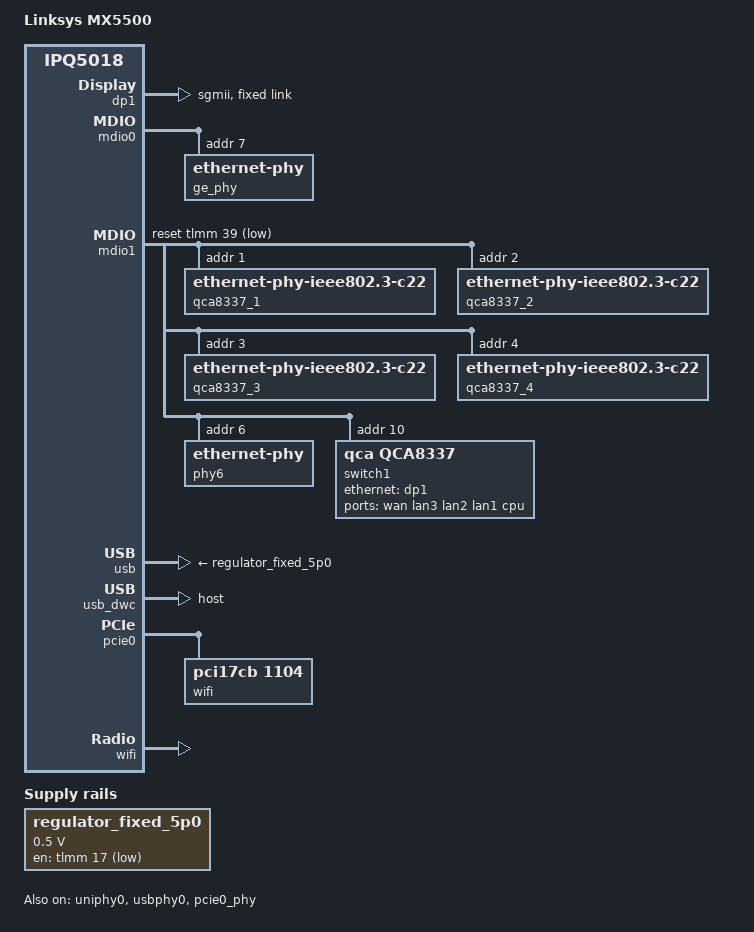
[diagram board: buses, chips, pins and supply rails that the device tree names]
/dts-v1/;

#include "ipq5018.dtsi"
#include "ipq5018-mx-base.dtsi"
#include <dt-bindings/phy/qcom-eth-uniphy.h>

/ {
	model = "Linksys MX5500";
	compatible = "linksys,mx5500", "qcom,ipq5018";

    chosen {
        bootargs-append = " pci=pcie_bus_perf mitigations=off root=/dev/ubiblock0_0";
		stdout-path = "serial0:115200n8";
	};

/*	gpio-leds {
		compatible = "gpio-leds";

		usb {
			color = <LED_COLOR_ID_BLUE>;
			function = LED_FUNCTION_USB;
			gpios = <&tlmm 19 GPIO_ACTIVE_HIGH>;
			trigger-sources = <&usb_port1>;
			linux,default-trigger = "usbport";
		};
	};*/

	regulator_fixed_5p0: regulator-s0500 {
		compatible = "regulator-fixed";
		regulator-min-microvolt = <500000>;
		regulator-max-microvolt = <500000>;
		regulator-name = "fixed_5p0";
		gpios = <&tlmm 17 GPIO_ACTIVE_LOW>;
	};

	reserved-memory {
		#address-cells = <2>;
		#size-cells = <2>;

		m3_dump@4c700000 {
			no-map;
			reg = <0x0 0x4c700000 0x0 0x100000>;
		};

		q6_etr_region:q6_etr_dump@4c800000 {
			no-map;
			reg = <0x0 0x4c800000 0x0 0x100000>;
		};

		q6_caldb_region:q6_caldb_region@4c900000 {
			no-map;
			reg = <0x0 0x4c900000 0x0 0x200000>;
		};

		qcn9000_pcie0: qcn9000_pcie0@4cb00000 {
			no-map;
			reg = <0x0 0x4Cb00000 0x0 0x01a00000>;
		};
		
		mhi_region1: dma_pool1@4e500000 {
			compatible = "shared-dma-pool";
			no-map;
			reg = <0x0 0x4e500000 0x0 0x00500000>;
		};

	};
};
&soc {
		nss-common {
			compatible = "qcom,nss-common";
			reg = <0x01868010 0x01>;
			reg-names = "nss-misc-reset";
			memory-region = <&nss_region>;
		};

		ess-instance {
			num_devices = <0x2>;
			ess-switch@39c00000 {
				compatible = "qcom,ess-switch-ipq50xx";
				device_id = <0>;
				switch_mac_mode = <0xf>; /* mac mode for uniphy instance*/
				cmnblk_clk = "internal_96MHz"; /* cmnblk clk*/
				qcom,port_phyinfo {
					port@0 {
						port_id = <1>;
						phy_address = <7>;
					};
					port@1 {
						port_id = <2>;
						forced-speed = <1000>;
						forced-duplex = <1>;
					};
				};
				led_source@0 {
					source = <0>;
					mode = "normal";
					speed = "all";
					blink_en = "enable";
					active = "high";
				};
			};
#if 1
			ess-switch1@1 {
				compatible = "qcom,ess-switch-qca83xx";
				device_id = <1>;
				switch_access_mode = "mdio";
				mdio-bus = <&mdio1>;
				reset_gpio = <0x227>;
#if 0
				switch_cpu_bmp = <0x40>;  /* cpu port bitmap (Port 6 GMAC) */
				switch_lan_bmp = <0x3c>;  /* lan port bitmap (Port 5..3 GMAC) */
				switch_wan_bmp = <0x00>;  /* wan port bitmap (Port 2 GMAC) */
#endif
				qca,ar8327-initvals = <
						0x00004 0x7600000   /* PAD0_MODE */
						0x00008 0x1000000   /* PAD5_MODE */
						0x0000c 0x80        /* PAD6_MODE */
						0x00010 0x2613a0    /* PORT6 FORCE MODE*/
						0x000e4 0xaa545     /* MAC_POWER_SEL */
						0x000e0 0xc74164de  /* SGMII_CTRL */
						0x0007c 0x4e        /* PORT0_STATUS */
						0x00094 0x4e        /* PORT6_STATUS */
				>;

				qcom,port_phyinfo {
					port@0 {
						port_id = <1>;
						phy_address = <0>;
					};
					port@1 {
						port_id = <2>;
						phy_address = <1>;
					};
					port@2 {
						port_id = <3>;
						phy_address = <2>;
					};
					port@3 {
						port_id = <4>;
						phy_address = <3>;
					};
					port@5 {
						port_id = <5>;
						phy_address = <4>;
					};
				};
			};
#endif
		};

		ess-uniphy@98000 {
			status = "disabled";
		};

/*		dp1: dp1 {
			device_type = "network";
			compatible = "qcom,nss-dp";
			qcom,id = <1>;

			reg = <0x39C00000 0x10000>;
			interrupts = <GIC_SPI 101 IRQ_TYPE_LEVEL_HIGH>;
			clocks = <&gcc GCC_SNOC_GMAC0_AXI_CLK>;
			clock-names = "nss-snoc-gmac-axi-clk";

			qcom,mactype = <2>;
			local-mac-address = [000000000000];
			phy-mode = "internal";
			phy-handle = <&ge_phy>;

		};*/


		dp1: dp1 {
			device_type = "network";
			compatible = "qcom,nss-dp";
			clocks = <&gcc GCC_SNOC_GMAC1_AXI_CLK>;
			clock-names = "nss-snoc-gmac-axi-clk";
			qcom,id = <2>;
			reg = <0x39D00000 0x10000>;
			interrupts = <GIC_SPI 109 IRQ_TYPE_LEVEL_HIGH>;
			qcom,mactype = <2>;
			local-mac-address = [000000000000];
			phy-mode = "sgmii";
			qcom,rx-page-mode = <0>;


			nvmem-cells = <&hw_mac_addr 0>;
		    	nvmem-cell-names = "mac-address";

			fixed-link {
				speed = <1000>;
				full-duplex;
			};
		};
};

&q6_region{
	no-map;
	reg = <0x0 0x4b000000 0x0 0x01700000>;
};


&uniphy0 {
	mode = <QCOM_ETH_UNIPHY_MODE_SGMII>;
	clkout-frequency = <QCOM_ETH_UNIPHY_CLKOUT_FREQ_25M>;
	clkout-drive-strength = <QCOM_ETH_UNIPHY_CLKOUT_DS_1_5V>;

	status = "okay";
};

&mdio0 {
	status = "okay";

			ge_phy: ethernet-phy@0 {
				reg = <7>;
			};

};

&ge_phy {
	status = "okay";
};

&mdio1 {
			status = "ok";
			pinctrl-0 = <&mdio1_pins>;
			pinctrl-names = "default";
			reset-gpios = <&tlmm 39 GPIO_ACTIVE_LOW>;

			qca8337_1: ethernet-phy@1 {
				compatible = "ethernet-phy-ieee802.3-c22";
				reg = <1>;
			};

			qca8337_2: ethernet-phy@2 {
				compatible = "ethernet-phy-ieee802.3-c22";
				reg = <2>;
			};

			qca8337_3: ethernet-phy@3 {
				compatible = "ethernet-phy-ieee802.3-c22";
				reg = <3>;
			};

			qca8337_4: ethernet-phy@4 {
				compatible = "ethernet-phy-ieee802.3-c22";
				reg = <4>;
			};



	phy6: ethernet-phy@6 {
		reg = <6>;
		phy-mode = "sgmii";
		qca,ar8327-initvals = <
				0x00004 0x7600000   /* PAD0_MODE */
				0x00008 0x1000000   /* PAD5_MODE */
				0x0000c 0x80        /* PAD6_MODE */
				0x00010 0x2613a0    /* PORT6 FORCE MODE*/
				0x000e4 0xaa545     /* MAC_POWER_SEL */
				0x000e0 0xc74164de  /* SGMII_CTRL */
				0x0007c 0x4e        /* PORT0_STATUS */
				0x00094 0x4e        /* PORT6_STATUS */
		>;
	};

	// QCA8337 switch
	switch1: ethernet-switch@10 {
		compatible = "qca,qca8337";
		#address-cells = <1>;
		#size-cells = <0>;
		reg = <10>;

		qca,ar8327-initvals = <
				0x00004 0x7600000   /* PAD0_MODE */
				0x00008 0x1000000   /* PAD5_MODE */
				0x0000c 0x80        /* PAD6_MODE */
				0x00010 0x2613a0    /* PORT6 FORCE MODE*/
				0x000e4 0xaa545     /* MAC_POWER_SEL */
				0x000e0 0xc74164de  /* SGMII_CTRL */
				0x0007c 0x4e        /* PORT0_STATUS */
				0x00094 0x4e        /* PORT6_STATUS */
		>;

		ports {
			#address-cells = <1>;
			#size-cells = <0>;


			port@2 {
				reg = <2>;
				phy-handle = <&qca8337_1>;
				label = "wan";
			};

			port@3 {
				reg = <3>;
				phy-handle = <&qca8337_2>;
				label = "lan3";
			};

			port@4 {
				reg = <4>;
				phy-handle = <&qca8337_3>;
				label = "lan2";
			};

			port@5 {
				reg = <5>;
				phy-handle = <&qca8337_4>;
				label = "lan1";
			};

			port@6 {
				reg = <6>;
				label = "cpu";
				phy-mode = "sgmii";
				ethernet = <&dp1>;
			/*	qca,sgmii-enable-pll; */

				fixed-link {
					speed = <1000>;
					full-duplex;
				};
			};

		};
	};

};

&usbphy0 {
	status = "okay";

	vdd-supply = <&regulator_fixed_5p0>;
};

&usb {
	status = "okay";

	vbus-supply = <&regulator_fixed_5p0>;
};

&usb_dwc {
	#address-cells = <1>;
	#size-cells = <0>;
	dr_mode = "host";

	usb_port1: port@1 {
		reg = <1>;
		#trigger-source-cells = <0>;
	};
};

&pcie0_phy {
	status = "okay";
};

&pcie0 {
	status = "okay";

	perst-gpios = <&tlmm 15 GPIO_ACTIVE_LOW>;

	pcie@0 {
		wifi@0,0 {
			status = "okay";

			/* QCN9074: ath11k lacks DT compatible for PCI cards */
			compatible = "pci17cb,1104";
			reg = <0x00010000 0 0 0 0>;
			hremote_node = <&qcn9000_pcie0>;
			qcom,ath11k-fw-memory-mode = <1>;
			qcom,m3-dump-addr = <0x4D700000>;
			qcom,caldb-addr = <0x4D900000>;
			qcom,caldb-size = <0x800000>;
			qcom,pageable-addr = <0x4E100000>;
			qcom,pageable-size = <0x400000>;

			qcom,ath11k-calibration-variant = "Linksys-MR5500";
		};
	};
};

&q6v5_wcss {
	firmware-name = "ath11k/IPQ5018/hw1.0/q6_fw.mdt",
			"ath11k/IPQ5018/hw1.0/m3_fw.mdt";
};

&wifi {
	status = "okay";

	qcom,rproc = <&q6v5_wcss>;
	qcom,ath11k-calibration-variant = "Linksys-MR5500";
	qcom,ath11k-fw-memory-mode = <1>;
};
